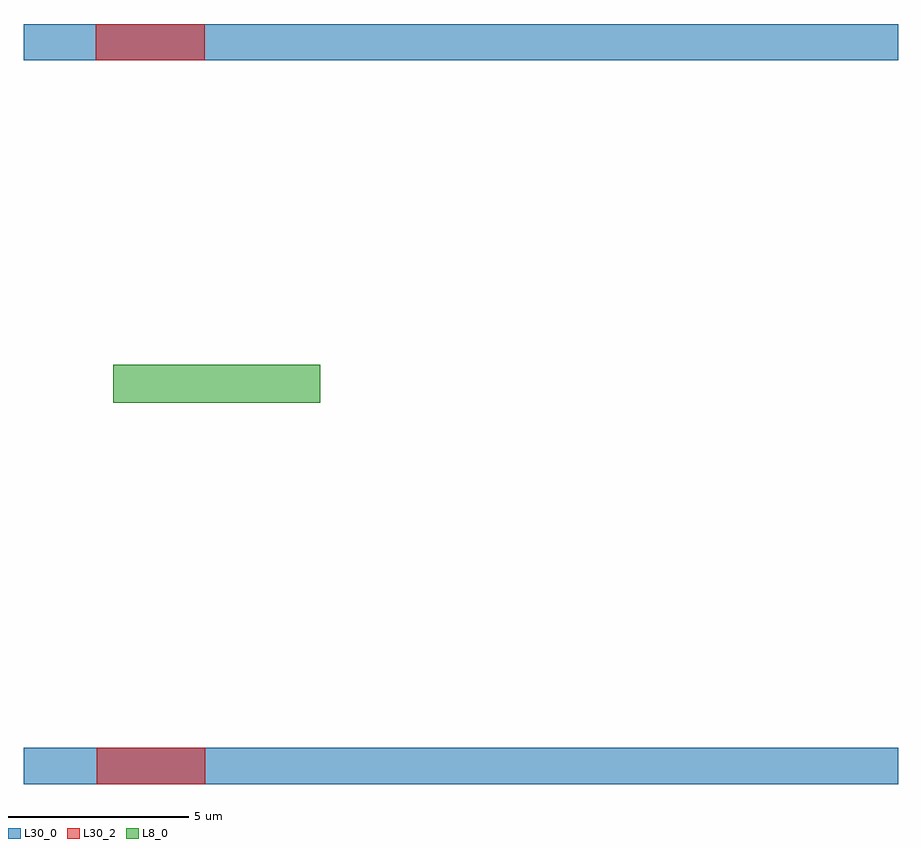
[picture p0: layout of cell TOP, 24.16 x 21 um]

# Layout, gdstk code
import gdstk
lib = gdstk.Library(unit=1e-6, precision=1e-09)
def R(c, l, rs):  # rectangles x0, y0, x1, y1
    for r in rs: c.add(gdstk.rectangle(r[:2], r[2:], *l))
L8_0 = (8, 0)
L30_0 = (30, 0)
L30_2 = (30, 2)

inv1 = lib.new_cell('inv1')
R(inv1, L30_0, [(0,-0.5,6.84,0.5), (0,19.5,6.84,20.5)])
R(inv1, L30_2, [(2.015,-0.5,5.015,0.5), (1.99,19.5,4.99,20.5)])
inv1.add(gdstk.Label('VDD', (3.49,20.005), layer=30, texttype=25))
inv1.add(gdstk.Label('VSS', (3.515,0), layer=30, texttype=25))

top = lib.new_cell('TOP')
R(top, L8_0, [(2.475,10.04,8.19,11.085)])
R(top, L30_0, [(0,-0.5,24.155,0.5), (0,19.5,24.155,20.5)])
top.add(gdstk.Reference(inv1, (0,0)))

lib.write_gds('TOP.gds')
